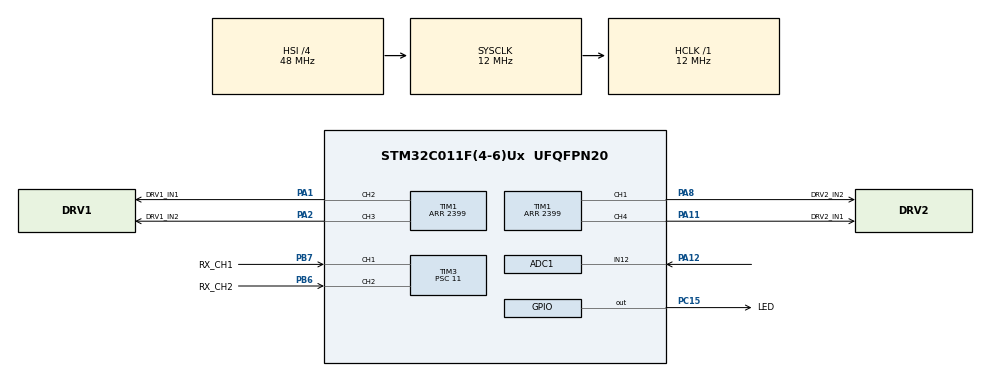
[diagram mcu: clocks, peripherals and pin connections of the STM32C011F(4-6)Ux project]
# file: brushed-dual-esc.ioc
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ADC1.ContinuousConvMode=ENABLE
ADC1.NbrOfConversionFlag=0
ADC1.SamplingTimeCommon1=ADC_SAMPLETIME_160CYCLES_5
ADC1.SelectedChannel=ADC_CHANNEL_12
ADC1.master=1
Mcu.Family=STM32C0
Mcu.Name=STM32C011F(4-6)Ux
Mcu.Package=UFQFPN20
NVIC.TIM3_IRQn=true\:0\:0\:false\:false\:true\:true\:true\:true
PA0.GPIO_Mode=GPIO_MODE_ANALOG
PA0.GPIO_PuPd=GPIO_NOPULL
PA0.Signal=ADC1_IN0
PA1.GPIO_Label=DRV1_IN1
PA1.GPIO_PuPd=GPIO_PULLDOWN
PA1.Signal=S_TIM1_CH2
PA11\ [PA9].GPIO_Label=DRV2_IN1
PA11\ [PA9].GPIO_PuPd=GPIO_PULLDOWN
PA11\ [PA9].Signal=S_TIM1_CH4
PA12\ [PA10].GPIO_Mode=GPIO_MODE_ANALOG
PA12\ [PA10].GPIO_PuPd=GPIO_NOPULL
PA12\ [PA10].Mode=IN12
PA12\ [PA10].Signal=ADC1_IN12
PA13.Mode=Serial_Wire
PA13.Signal=DEBUG_SWDIO
PA14-BOOT0.Mode=Serial_Wire
PA14-BOOT0.Signal=DEBUG_SWCLK
PA2.GPIO_Label=DRV1_IN2
PA2.GPIO_PuPd=GPIO_PULLDOWN
PA2.Signal=S_TIM1_CH3
PA7.GPIO_Mode=GPIO_MODE_ANALOG
PA7.GPIO_PuPd=GPIO_NOPULL
PA7.Signal=ADC1_IN7
PA8.GPIO_Label=DRV2_IN2
PA8.GPIO_PuPd=GPIO_PULLDOWN
PA8.Signal=S_TIM1_CH1
PB6.GPIO_Label=RX_CH2
PB6.GPIO_PuPd=GPIO_PULLDOWN
PB6.Signal=S_TIM3_CH2
PB7.GPIO_Label=RX_CH1
PB7.GPIO_PuPd=GPIO_PULLDOWN
PB7.Signal=S_TIM3_CH1
PC15-OSCX_OUT\ (PC15).GPIO_Label=LED
PC15-OSCX_OUT\ (PC15).Signal=GPIO_Output
ProjectManager.HeapSize=0x200
ProjectManager.StackSize=0x400
ProjectManager.TargetToolchain=STM32CubeIDE
RCC.ADCFreq_Value=12000000
RCC.AHBFreq_Value=12000000
RCC.CortexFreq_Value=12000000
RCC.EXTERNAL_CLOCK_VALUE=12288000
RCC.HCLKFreq_Value=12000000
RCC.HSE_VALUE=8000000
RCC.HSI_VALUE=48000000
RCC.LSE_VALUE=32768
RCC.SYSCLKFreq_VALUE=12000000
SH.S_TIM1_CH1.0=TIM1_CH1,PWM Generation1 CH1
SH.S_TIM1_CH2.0=TIM1_CH2,PWM Generation2 CH2
SH.S_TIM1_CH3.0=TIM1_CH3,PWM Generation3 CH3
SH.S_TIM1_CH4.0=TIM1_CH4,PWM Generation4 CH4
SH.S_TIM3_CH1.0=TIM3_CH1,Input_Capture1_from_TI1
SH.S_TIM3_CH2.0=TIM3_CH2,Input_Capture2_from_TI2
TIM1.AutoReloadPreload=TIM_AUTORELOAD_PRELOAD_ENABLE
TIM1.Channel-PWM\ Generation1\ CH1=TIM_CHANNEL_1
TIM1.Channel-PWM\ Generation2\ CH2=TIM_CHANNEL_2
TIM1.Channel-PWM\ Generation3\ CH3=TIM_CHANNEL_3
TIM1.Channel-PWM\ Generation4\ CH4=TIM_CHANNEL_4
TIM1.Period=2399
TIM3.Channel-Input_Capture1_from_TI1=TIM_CHANNEL_1
TIM3.Channel-Input_Capture2_from_TI2=TIM_CHANNEL_2
TIM3.ICFilter_CH1=15
TIM3.ICFilter_CH2=15
TIM3.Prescaler=11
VP_TIM1_VS_ClockSourceINT.Mode=Internal
VP_TIM3_VS_ClockSourceINT.Mode=Internal
board=custom

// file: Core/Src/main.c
/* USER CODE BEGIN Header */
/**
  ******************************************************************************
  * @file           : main.c
  * @brief          : Main program body
  ******************************************************************************
  * @attention
  *
  * Copyright (c) 2025 STMicroelectronics.
  * All rights reserved.
  *
  * This software is licensed under terms that can be found in the LICENSE file
  * in the root directory of this software component.
  * If no LICENSE file comes with this software, it is provided AS-IS.
  *
  ******************************************************************************
  */
/* USER CODE END Header */
#include "main.h"

/* USER CODE BEGIN PD */
// --- Failsafe timer configuration ---
#define PULSE_TIMEOUT_MS 100 // 100 ms at 50 Hz is 5 missed pulses I think

// --- MIN BATTERY VOLTAGE CUTOFF CONFIGURATION ---
/* Calculate this yourself:
 * 1. Multiply min cell voltage by number of cells to get min battery voltage
 * 		v_batt_min = v_cell_min * batt_s
 * 2. Calculate voltage divider gain based on R1 and R2 in https://www.digikey.com/en/resources/conversion-calculators/conversion-calculator-voltage-divider
 * 		divider_gain = r2 / (r1 + r2)
 * 3. Calculate min divided voltage (input to ADC pin)
 * 		v_divided_min = v_batt_min * divider_gain
 * 4. Calculate min ADC counts (here we assume 12 bit ADC, so (2^12)-1=4095 max counts at VREF, which we assume is 3.3V)
 * 		MIN_BATT_ADC = (v_divided_min / 3.3) * 4095
 * 5. Round it to the nearest whole number and enter below
 */

#define MIN_BATT_ADC 2597 // 3V/cell
/* USER CODE END PD */

ADC_HandleTypeDef hadc1;

TIM_HandleTypeDef htim1;
TIM_HandleTypeDef htim3;

/* USER CODE BEGIN PV */
// --- Channel 1 (RX_CH1 -> TIM3_CH2 -> Motor 1) ---
// Note: RX_CH1_Pin (PB7) is TIM3_CH2
volatile uint32_t IC_Val1_CH1 = 0;
volatile uint32_t IC_Val2_CH1 = 0;
volatile uint32_t Pulse_Width_CH1 = 1500; // Default to neutral
volatile uint8_t Is_First_Captured_CH1 = 0; // 0 = waiting for rising, 1 = waiting for falling
volatile uint32_t last_pulse_time_ch1 = 0; // For failsafe

// --- Channel 2 (RX_CH2 -> TIM3_CH1 -> Motor 2) ---
// Note: RX_CH2_Pin (PB6) is TIM3_CH1
volatile uint32_t IC_Val1_CH2 = 0;
volatile uint32_t IC_Val2_CH2 = 0;
volatile uint32_t Pulse_Width_CH2 = 1500; // Default to neutral
volatile uint8_t Is_First_Captured_CH2 = 0; // 0 = waiting for rising, 1 = waiting for falling
volatile uint32_t last_pulse_time_ch2 = 0; // For failsafe

volatile uint32_t now;
uint32_t pulse1, pulse2;
uint32_t last_seen1, last_seen2;
uint8_t error;
uint8_t batt_cutoff;
volatile uint32_t batt_adc_reading = 69;
/* USER CODE END PV */

void SystemClock_Config(void);
static void MX_GPIO_Init(void);
static void MX_ADC1_Init(void);
static void MX_TIM1_Init(void);
static void MX_TIM3_Init(void);
/* USER CODE BEGIN PFP */
void set_motor_speed(uint32_t pulse, uint32_t tim_channel_in1, uint32_t tim_channel_in2);
/* USER CODE END PFP */

int main(void)
{

  /* MCU Configuration--------------------------------------------------------*/

  /* Reset of all peripherals, Initializes the Flash interface and the Systick. */
  HAL_Init();

  /* Configure the system clock */
  SystemClock_Config();

  /* Initialize all configured peripherals */
  MX_GPIO_Init();
  MX_ADC1_Init();
  MX_TIM1_Init();
  MX_TIM3_Init();
  /* USER CODE BEGIN 2 */
  // Turn on LED to indicate boot
  HAL_GPIO_WritePin(LED_GPIO_Port, LED_Pin, 0);

  // --- Start Motor 1 (DRV1) PWM Channels ---
  // DRV1_IN1 (PA1) -> TIM1_CH2
  // DRV1_IN2 (PA2) -> TIM1_CH3
  HAL_TIM_PWM_Start(&htim1, TIM_CHANNEL_2);
  HAL_TIM_PWM_Start(&htim1, TIM_CHANNEL_3);

  // --- Start Motor 2 (DRV2) PWM Channels ---
  // DRV2_IN1 (PA11) -> TIM1_CH4
  // DRV2_IN2 (PA8)  -> TIM1_CH1
  HAL_TIM_PWM_Start(&htim1, TIM_CHANNEL_4);
  HAL_TIM_PWM_Start(&htim1, TIM_CHANNEL_1);

  // Set all motor outputs to 0 (Coast) initially
  __HAL_TIM_SET_COMPARE(&htim1, TIM_CHANNEL_1, 0);
  __HAL_TIM_SET_COMPARE(&htim1, TIM_CHANNEL_2, 0);
  __HAL_TIM_SET_COMPARE(&htim1, TIM_CHANNEL_3, 0);
  __HAL_TIM_SET_COMPARE(&htim1, TIM_CHANNEL_4, 0);

  // --- Start Input Capture Interrupts ---
  HAL_TIM_IC_Start_IT(&htim3, TIM_CHANNEL_1); // RX_CH2 (PB6) -> Motor 2
  HAL_TIM_IC_Start_IT(&htim3, TIM_CHANNEL_2); // RX_CH1 (PB7) -> Motor 1

  // Start ADC continuous mode
  HAL_ADCEx_Calibration_Start(&hadc1);
  HAL_ADC_Start(&hadc1);

  // Initialize failsafe timestamps
  now = HAL_GetTick();
  last_pulse_time_ch1 = now;
  last_pulse_time_ch2 = now;
  error = 0;
  batt_cutoff = 0;

  // Turn off LED to indicate success
  HAL_GPIO_WritePin(LED_GPIO_Port, LED_Pin, 1);

  /* USER CODE END 2 */

  /* Infinite loop */
  while (1)
  {

    /* USER CODE BEGIN 3 */
  	now = HAL_GetTick();
  	error = 0;

   	batt_adc_reading = HAL_ADC_GetValue(&hadc1);
//  	if (batt_adc_reading < MIN_BATT_ADC) {
//  		batt_cutoff = 1;
//  		error = 1;
//  	} else {
//  		batt_cutoff = 0;
//  	}

  	// Atomically get the latest pulse data from the ISR
  	HAL_NVIC_DisableIRQ(TIM3_IRQn);
  	pulse1 = Pulse_Width_CH1;
  	last_seen1 = last_pulse_time_ch1;
  	pulse2 = Pulse_Width_CH2;
  	last_seen2 = last_pulse_time_ch2;
  	HAL_NVIC_EnableIRQ(TIM3_IRQn);

  	if (!batt_cutoff) {
			if (now - last_seen1 > PULSE_TIMEOUT_MS) // motor 1 failsafe
			{
				// coast IN1=IN2=0
				__HAL_TIM_SET_COMPARE(&htim1, TIM_CHANNEL_2, 0);
				__HAL_TIM_SET_COMPARE(&htim1, TIM_CHANNEL_3, 0);

				error = 1;
			}
			else // motor 1 good
			{
				set_motor_speed(pulse1, TIM_CHANNEL_2, TIM_CHANNEL_3);
			}

			if (now - last_seen2 > PULSE_TIMEOUT_MS) // motor 2 failsafe
			{
				// coast IN1=IN2=0
				__HAL_TIM_SET_COMPARE(&htim1, TIM_CHANNEL_4, 0);
				__HAL_TIM_SET_COMPARE(&htim1, TIM_CHANNEL_1, 0);

				error = 1;
			}
			else // motor 2 good
			{
				set_motor_speed(pulse2, TIM_CHANNEL_4, TIM_CHANNEL_1);
			}
  	}

  	// write error state to LED each time
		HAL_GPIO_WritePin(LED_GPIO_Port, LED_Pin, !error);
  }
  /* USER CODE END 3 */
}

void SystemClock_Config(void)
{
  RCC_OscInitTypeDef RCC_OscInitStruct = {0};
  RCC_ClkInitTypeDef RCC_ClkInitStruct = {0};

  __HAL_FLASH_SET_LATENCY(FLASH_LATENCY_0);

  /** Initializes the RCC Oscillators according to the specified parameters
  * in the RCC_OscInitTypeDef structure.
  */
  RCC_OscInitStruct.OscillatorType = RCC_OSCILLATORTYPE_HSI;
  RCC_OscInitStruct.HSIState = RCC_HSI_ON;
  RCC_OscInitStruct.HSIDiv = RCC_HSI_DIV4;
  RCC_OscInitStruct.HSICalibrationValue = RCC_HSICALIBRATION_DEFAULT;
  if (HAL_RCC_OscConfig(&RCC_OscInitStruct) != HAL_OK)
  {
    Error_Handler();
  }

  /** Initializes the CPU, AHB and APB buses clocks
  */
  RCC_ClkInitStruct.ClockType = RCC_CLOCKTYPE_HCLK|RCC_CLOCKTYPE_SYSCLK
                              |RCC_CLOCKTYPE_PCLK1;
  RCC_ClkInitStruct.SYSCLKSource = RCC_SYSCLKSOURCE_HSI;
  RCC_ClkInitStruct.SYSCLKDivider = RCC_SYSCLK_DIV1;
  RCC_ClkInitStruct.AHBCLKDivider = RCC_HCLK_DIV1;
  RCC_ClkInitStruct.APB1CLKDivider = RCC_APB1_DIV1;

  if (HAL_RCC_ClockConfig(&RCC_ClkInitStruct, FLASH_LATENCY_0) != HAL_OK)
  {
    Error_Handler();
  }
}

static void MX_ADC1_Init(void)
{

  ADC_ChannelConfTypeDef sConfig = {0};

  /** Configure the global features of the ADC (Clock, Resolution, Data Alignment and number of conversion)
  */
  hadc1.Instance = ADC1;
  hadc1.Init.ClockPrescaler = ADC_CLOCK_SYNC_PCLK_DIV1;
  hadc1.Init.Resolution = ADC_RESOLUTION_12B;
  hadc1.Init.DataAlign = ADC_DATAALIGN_RIGHT;
  hadc1.Init.ScanConvMode = ADC_SCAN_SEQ_FIXED;
  hadc1.Init.EOCSelection = ADC_EOC_SINGLE_CONV;
  hadc1.Init.LowPowerAutoWait = DISABLE;
  hadc1.Init.LowPowerAutoPowerOff = DISABLE;
  hadc1.Init.ContinuousConvMode = ENABLE;
  hadc1.Init.NbrOfConversion = 1;
  hadc1.Init.ExternalTrigConv = ADC_SOFTWARE_START;
  hadc1.Init.ExternalTrigConvEdge = ADC_EXTERNALTRIGCONVEDGE_NONE;
  hadc1.Init.DMAContinuousRequests = DISABLE;
  hadc1.Init.Overrun = ADC_OVR_DATA_PRESERVED;
  hadc1.Init.SamplingTimeCommon1 = ADC_SAMPLETIME_160CYCLES_5;
  hadc1.Init.OversamplingMode = DISABLE;
  hadc1.Init.TriggerFrequencyMode = ADC_TRIGGER_FREQ_HIGH;
  if (HAL_ADC_Init(&hadc1) != HAL_OK)
  {
    Error_Handler();
  }

  /** Configure Regular Channel
  */
  sConfig.Channel = ADC_CHANNEL_12;
  sConfig.Rank = ADC_RANK_CHANNEL_NUMBER;
  if (HAL_ADC_ConfigChannel(&hadc1, &sConfig) != HAL_OK)
  {
    Error_Handler();
  }

}

static void MX_TIM1_Init(void)
{

  TIM_ClockConfigTypeDef sClockSourceConfig = {0};
  TIM_MasterConfigTypeDef sMasterConfig = {0};
  TIM_OC_InitTypeDef sConfigOC = {0};
  TIM_BreakDeadTimeConfigTypeDef sBreakDeadTimeConfig = {0};

  htim1.Instance = TIM1;
  htim1.Init.Prescaler = 0;
  htim1.Init.CounterMode = TIM_COUNTERMODE_UP;
  htim1.Init.Period = 2399;
  htim1.Init.ClockDivision = TIM_CLOCKDIVISION_DIV1;
  htim1.Init.RepetitionCounter = 0;
  htim1.Init.AutoReloadPreload = TIM_AUTORELOAD_PRELOAD_ENABLE;
  if (HAL_TIM_Base_Init(&htim1) != HAL_OK)
  {
    Error_Handler();
  }
  sClockSourceConfig.ClockSource = TIM_CLOCKSOURCE_INTERNAL;
  if (HAL_TIM_ConfigClockSource(&htim1, &sClockSourceConfig) != HAL_OK)
  {
    Error_Handler();
  }
  if (HAL_TIM_PWM_Init(&htim1) != HAL_OK)
  {
    Error_Handler();
  }
  sMasterConfig.MasterOutputTrigger = TIM_TRGO_RESET;
  sMasterConfig.MasterOutputTrigger2 = TIM_TRGO2_RESET;
  sMasterConfig.MasterSlaveMode = TIM_MASTERSLAVEMODE_DISABLE;
  if (HAL_TIMEx_MasterConfigSynchronization(&htim1, &sMasterConfig) != HAL_OK)
  {
    Error_Handler();
  }
  sConfigOC.OCMode = TIM_OCMODE_PWM1;
  sConfigOC.Pulse = 0;
  sConfigOC.OCPolarity = TIM_OCPOLARITY_HIGH;
  sConfigOC.OCNPolarity = TIM_OCNPOLARITY_HIGH;
  sConfigOC.OCFastMode = TIM_OCFAST_DISABLE;
  sConfigOC.OCIdleState = TIM_OCIDLESTATE_RESET;
  sConfigOC.OCNIdleState = TIM_OCNIDLESTATE_RESET;
  if (HAL_TIM_PWM_ConfigChannel(&htim1, &sConfigOC, TIM_CHANNEL_1) != HAL_OK)
  {
    Error_Handler();
  }
  if (HAL_TIM_PWM_ConfigChannel(&htim1, &sConfigOC, TIM_CHANNEL_2) != HAL_OK)
  {
    Error_Handler();
  }
  if (HAL_TIM_PWM_ConfigChannel(&htim1, &sConfigOC, TIM_CHANNEL_3) != HAL_OK)
  {
    Error_Handler();
  }
  if (HAL_TIM_PWM_ConfigChannel(&htim1, &sConfigOC, TIM_CHANNEL_4) != HAL_OK)
  {
    Error_Handler();
  }
  sBreakDeadTimeConfig.OffStateRunMode = TIM_OSSR_DISABLE;
  sBreakDeadTimeConfig.OffStateIDLEMode = TIM_OSSI_DISABLE;
  sBreakDeadTimeConfig.LockLevel = TIM_LOCKLEVEL_OFF;
  sBreakDeadTimeConfig.DeadTime = 0;
  sBreakDeadTimeConfig.BreakState = TIM_BREAK_DISABLE;
  sBreakDeadTimeConfig.BreakPolarity = TIM_BREAKPOLARITY_HIGH;
  sBreakDeadTimeConfig.BreakFilter = 0;
  sBreakDeadTimeConfig.BreakAFMode = TIM_BREAK_AFMODE_INPUT;
  sBreakDeadTimeConfig.Break2State = TIM_BREAK2_DISABLE;
  sBreakDeadTimeConfig.Break2Polarity = TIM_BREAK2POLARITY_HIGH;
  sBreakDeadTimeConfig.Break2Filter = 0;
  sBreakDeadTimeConfig.Break2AFMode = TIM_BREAK_AFMODE_INPUT;
  sBreakDeadTimeConfig.AutomaticOutput = TIM_AUTOMATICOUTPUT_DISABLE;
  if (HAL_TIMEx_ConfigBreakDeadTime(&htim1, &sBreakDeadTimeConfig) != HAL_OK)
  {
    Error_Handler();
  }
  HAL_TIM_MspPostInit(&htim1);

}

static void MX_TIM3_Init(void)
{

  TIM_ClockConfigTypeDef sClockSourceConfig = {0};
  TIM_MasterConfigTypeDef sMasterConfig = {0};
  TIM_IC_InitTypeDef sConfigIC = {0};

  htim3.Instance = TIM3;
  htim3.Init.Prescaler = 11;
  htim3.Init.CounterMode = TIM_COUNTERMODE_UP;
  htim3.Init.Period = 65535;
  htim3.Init.ClockDivision = TIM_CLOCKDIVISION_DIV1;
  htim3.Init.AutoReloadPreload = TIM_AUTORELOAD_PRELOAD_DISABLE;
  if (HAL_TIM_Base_Init(&htim3) != HAL_OK)
  {
    Error_Handler();
  }
  sClockSourceConfig.ClockSource = TIM_CLOCKSOURCE_INTERNAL;
  if (HAL_TIM_ConfigClockSource(&htim3, &sClockSourceConfig) != HAL_OK)
  {
    Error_Handler();
  }
  if (HAL_TIM_IC_Init(&htim3) != HAL_OK)
  {
    Error_Handler();
  }
  sMasterConfig.MasterOutputTrigger = TIM_TRGO_RESET;
  sMasterConfig.MasterSlaveMode = TIM_MASTERSLAVEMODE_DISABLE;
  if (HAL_TIMEx_MasterConfigSynchronization(&htim3, &sMasterConfig) != HAL_OK)
  {
    Error_Handler();
  }
  sConfigIC.ICPolarity = TIM_INPUTCHANNELPOLARITY_RISING;
  sConfigIC.ICSelection = TIM_ICSELECTION_DIRECTTI;
  sConfigIC.ICPrescaler = TIM_ICPSC_DIV1;
  sConfigIC.ICFilter = 15;
  if (HAL_TIM_IC_ConfigChannel(&htim3, &sConfigIC, TIM_CHANNEL_1) != HAL_OK)
  {
    Error_Handler();
  }
  if (HAL_TIM_IC_ConfigChannel(&htim3, &sConfigIC, TIM_CHANNEL_2) != HAL_OK)
  {
    Error_Handler();
  }

}

static void MX_GPIO_Init(void)
{
  GPIO_InitTypeDef GPIO_InitStruct = {0};

  /* GPIO Ports Clock Enable */
  __HAL_RCC_GPIOC_CLK_ENABLE();
  __HAL_RCC_GPIOA_CLK_ENABLE();
  __HAL_RCC_GPIOB_CLK_ENABLE();

  /*Configure GPIO pin Output Level */
  HAL_GPIO_WritePin(LED_GPIO_Port, LED_Pin, GPIO_PIN_RESET);

  /*Configure GPIO pin : LED_Pin */
  GPIO_InitStruct.Pin = LED_Pin;
  GPIO_InitStruct.Mode = GPIO_MODE_OUTPUT_PP;
  GPIO_InitStruct.Pull = GPIO_NOPULL;
  GPIO_InitStruct.Speed = GPIO_SPEED_FREQ_LOW;
  HAL_GPIO_Init(LED_GPIO_Port, &GPIO_InitStruct);

}

/* USER CODE BEGIN 4 */
/**
  * @brief  Converts a 1000-2000us pulse to motor driver PWM outputs
  * @param  pulse: The measured pulse width in microseconds (1000-2000)
  * @param  tim_channel_in1: The TIM1 channel for the driver's IN1 pin
  * @param  tim_channel_in2: The TIM1 channel for the driver's IN2 pin
  * @retval None
  */
void set_motor_speed(uint32_t pulse, uint32_t tim_channel_in1, uint32_t tim_channel_in2)
{
    uint32_t duty = 0;
    const uint32_t MAX_DUTY = 2399; // from htim1.Init.Period
    const uint32_t NEUTRAL_LOW = 1450;
    const uint32_t NEUTRAL_HIGH = 1550;
    const uint32_t MIN_PULSE = 1000;
    const uint32_t MAX_PULSE = 2000;

    // --- Failsafe ---
    // If pulse is way out of range, default to neutral
    if (pulse < 500 || pulse > 2500)
    {
//        pulse = 1500;
    	error = 1;
//        HAL_GPIO_WritePin(LED_GPIO_Port, LED_Pin, 0);
    }

    // --- Neutral / Coast ---
    // (DRV8231A Table 8-2: IN1=0, IN2=0 -> Coast)
//    if (pulse > NEUTRAL_LOW && pulse < NEUTRAL_HIGH)
//    {
//        __HAL_TIM_SET_COMPARE(&htim1, tim_channel_in1, 0);
//        __HAL_TIM_SET_COMPARE(&htim1, tim_channel_in2, 0);
//    }
//     --- Neutral / Brake ---
//     (DRV8231A Table 8-2: IN1=0, IN2=0 -> Coast)
    if (pulse > NEUTRAL_LOW && pulse < NEUTRAL_HIGH)
    {
        __HAL_TIM_SET_COMPARE(&htim1, tim_channel_in1, MAX_DUTY);
        __HAL_TIM_SET_COMPARE(&htim1, tim_channel_in2, MAX_DUTY);
    }
    // --- Forward ---
    // (DRV8231A Table 8-2: IN1=PWM, IN2=0 -> Forward)
    else if (pulse >= NEUTRAL_HIGH)
    {
        if(pulse > MAX_PULSE) pulse = MAX_PULSE;

        // Map [1550...2000] to [0...599]
        duty = (pulse - NEUTRAL_HIGH) * MAX_DUTY / (MAX_PULSE - NEUTRAL_HIGH);
        if (duty > MAX_DUTY) duty = MAX_DUTY;

        __HAL_TIM_SET_COMPARE(&htim1, tim_channel_in1, duty); // IN1 = PWM
        __HAL_TIM_SET_COMPARE(&htim1, tim_channel_in2, 0);    // IN2 = 0
    }
    // --- Reverse ---
    // (DRV8231A Table 8-2: IN1=0, IN2=PWM -> Reverse)
    else if (pulse <= NEUTRAL_LOW)
    {
        if(pulse < MIN_PULSE) pulse = MIN_PULSE;

        // Map [1450...1000] to [0...599]
        duty = (NEUTRAL_LOW - pulse) * MAX_DUTY / (NEUTRAL_LOW - MIN_PULSE);
        if (duty > MAX_DUTY) duty = MAX_DUTY;

        __HAL_TIM_SET_COMPARE(&htim1, tim_channel_in1, 0);    // IN1 = 0
        __HAL_TIM_SET_COMPARE(&htim1, tim_channel_in2, duty); // IN2 = PWM
    }
}

/**
  * @brief  Input Capture callback in non-blocking mode
  * @param  htim: TIM handle
  * @retval None
  */
void HAL_TIM_IC_CaptureCallback(TIM_HandleTypeDef *htim)
{
    if (htim->Instance == TIM3)
    {
        // --- Channel 2 (PB7) -> RX_CH1 -> Motor 1 ---
        if (htim->Channel == HAL_TIM_ACTIVE_CHANNEL_2)
        {
            if (Is_First_Captured_CH1 == 0) // First edge (Rising)
            {
                IC_Val1_CH1 = HAL_TIM_ReadCapturedValue(htim, TIM_CHANNEL_2);
                Is_First_Captured_CH1 = 1;
                // Change polarity to falling edge
                __HAL_TIM_SET_CAPTUREPOLARITY(htim, TIM_CHANNEL_2, TIM_INPUTCHANNELPOLARITY_FALLING);
            }
            else  // Second edge (Falling)
            {
                IC_Val2_CH1 = HAL_TIM_ReadCapturedValue(htim, TIM_CHANNEL_2);
                // --- FIX: Use a unique variable name ---
                uint32_t new_pulse_width_ch1 = 0;

                if (IC_Val2_CH1 > IC_Val1_CH1)
                {
                    new_pulse_width_ch1 = IC_Val2_CH1 - IC_Val1_CH1;
                }
                else if (IC_Val1_CH1 > IC_Val2_CH1) // Timer overflow
                {
                    new_pulse_width_ch1 = (0xFFFF - IC_Val1_CH1) + IC_Val2_CH1 + 1;
                }

                // --- Validate and save for CH1 ---
                // Discard any junk pulses outside the valid 800-2200us range
                if (new_pulse_width_ch1 > 800 && new_pulse_width_ch1 < 2200)
                {
                    Pulse_Width_CH1 = new_pulse_width_ch1; // Write to CH1's variable
                    last_pulse_time_ch1 = HAL_GetTick();   // Write to CH1's timestamp
                }

                Is_First_Captured_CH1 = 0;
                // Change polarity back to rising edge
                __HAL_TIM_SET_CAPTUREPOLARITY(htim, TIM_CHANNEL_2, TIM_INPUTCHANNELPOLARITY_RISING);
            }
        }

        // --- Channel 1 (PB6) -> RX_CH2 -> Motor 2 ---
        if (htim->Channel == HAL_TIM_ACTIVE_CHANNEL_1)
        {
            if (Is_First_Captured_CH2 == 0) // First edge (Rising)
            {
                IC_Val1_CH2 = HAL_TIM_ReadCapturedValue(htim, TIM_CHANNEL_1);
                Is_First_Captured_CH2 = 1;
                // Change polarity to falling edge
                __HAL_TIM_SET_CAPTUREPOLARITY(htim, TIM_CHANNEL_1, TIM_INPUTCHANNELPOLARITY_FALLING);
            }
            else  // Second edge (Falling)
            {
                IC_Val2_CH2 = HAL_TIM_ReadCapturedValue(htim, TIM_CHANNEL_1);
                // --- FIX: Use a unique variable name ---
                uint32_t new_pulse_width_ch2 = 0;

                if (IC_Val2_CH2 > IC_Val1_CH2)
                {
                    new_pulse_width_ch2 = IC_Val2_CH2 - IC_Val1_CH2;
                }
                else if (IC_Val1_CH2 > IC_Val2_CH2) // Timer overflow
                {
                    new_pulse_width_ch2 = (0xFFFF - IC_Val1_CH2) + IC_Val2_CH2 + 1;
                }

                // --- Validate and save for CH2 ---
                // Discard any junk pulses outside the valid 800-2200us range
                if (new_pulse_width_ch2 > 800 && new_pulse_width_ch2 < 2200)
                {
                    Pulse_Width_CH2 = new_pulse_width_ch2; // Write to CH2's variable
                    last_pulse_time_ch2 = HAL_GetTick();   // Write to CH2's timestamp
                }

                Is_First_Captured_CH2 = 0;
                // Change polarity back to rising edge
                __HAL_TIM_SET_CAPTUREPOLARITY(htim, TIM_CHANNEL_1, TIM_INPUTCHANNELPOLARITY_RISING);
            }
        }
    }
}

/* USER CODE END 4 */

void Error_Handler(void)
{
  __disable_irq();
  while (1)
  {
  }
}
